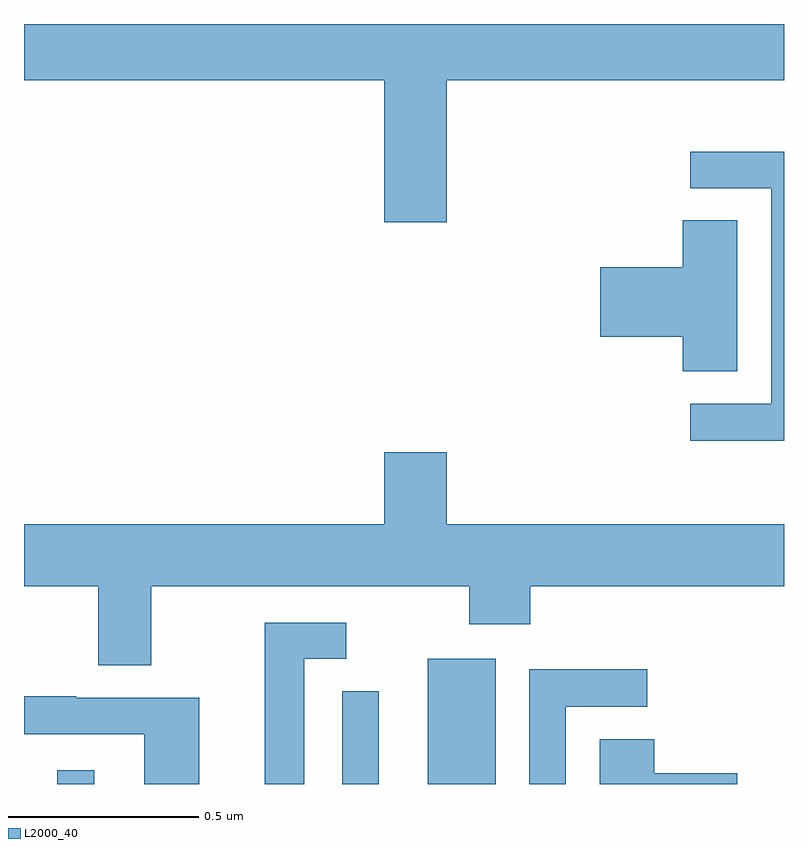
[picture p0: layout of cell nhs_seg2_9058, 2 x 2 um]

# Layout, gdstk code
import gdstk
lib = gdstk.Library(unit=1e-6, precision=1e-09)
def R(c, l, rs):  # rectangles x0, y0, x1, y1
    for r in rs: c.add(gdstk.rectangle(r[:2], r[2:], *l))
def P(c, l, *ps):  # polygons
    for p in ps: c.add(gdstk.Polygon(p, *l))
L2000_40 = (2000, 40)

nhs_seg2_9058 = lib.new_cell('nhs_seg2_9058')
R(nhs_seg2_9058, L2000_40, [(224.088,629.8,224.185,629.836), (225.062,629.8,225.241,630.13)])
P(nhs_seg2_9058, L2000_40, [(225.112,631.652),(226,631.652),(226,631.8),(224,631.8),(224,631.652),(224.948,631.652),(224.948,631.278),(225.112,631.278)],
  [(226,631.464),(225.753,631.464),(225.753,631.368),(225.966,631.368),(225.966,630.801),(225.753,630.801),(225.753,630.703),(226,630.703)],
  [(225.877,631.283),(225.734,631.283),(225.734,631.16),(225.516,631.16),(225.516,630.977),(225.734,630.977),(225.734,630.886),(225.877,630.886)],
  [(224.335,630.32),(225.172,630.32),(225.172,630.221),(225.332,630.221),(225.332,630.32),(226,630.32),(226,630.484),(225.112,630.484),(225.112,630.673),(224.948,630.673),(224.948,630.484),(224,630.484),(224,630.32),(224.195,630.32),(224.195,630.112),(224.335,630.112)],
  [(224.737,630.129),(224.848,630.129),(224.848,630.225),(224.633,630.225),(224.633,629.8),(224.737,629.8)],
  [(225.426,630.003),(225.64,630.003),(225.64,630.102),(225.33,630.102),(225.33,629.8),(225.426,629.8)],
  [(224.933,629.89),(224.934,629.89),(224.934,630.044),(224.838,630.044),(224.838,629.8),(224.933,629.8)],
  [(224.461,630.027),(224.137,630.027),(224.137,630.031),(224,630.031),(224,629.931),(224.316,629.931),(224.316,629.8),(224.461,629.8)],
  [(225.877,629.828),(225.659,629.828),(225.659,629.918),(225.515,629.918),(225.515,629.8),(225.877,629.8)])

lib.write_gds('nhs_seg2_9058.gds')
